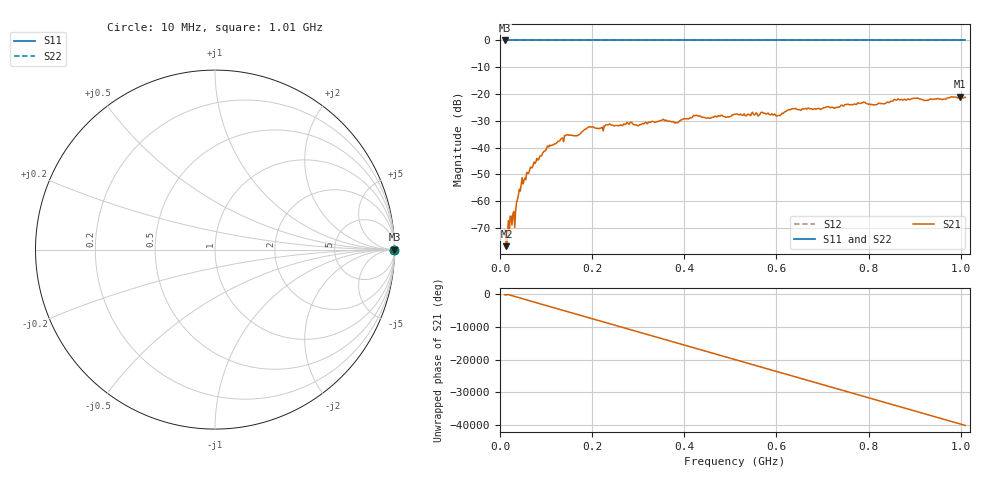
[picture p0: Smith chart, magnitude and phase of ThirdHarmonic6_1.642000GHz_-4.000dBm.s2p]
! 8/16/2025 7:38:29 PM
! C:\ANRITSUVNA\TEMP\TEMP.S2P
! CHANNEL.1
! TR.MEASUREMENT
! RAW.DATA
! RF.CORRECTION.OFF
! AVERAGING.OFF
! IF.BANDWIDTH: 5KHZ
! SWEEPTYPE:  FREQ.SWEEP(Linear)
! Reference Plane Port Info
! PORT:  PORT1  PORT2
! DISTANCE:  0  m  0  m
! TIME:  0  s  0  s
! PHASE.OFFSET:  0  deg.  0  deg.
! LOSS:  0  dB  0  dB
! REF.LOSS:  0  dB  0  dB
! REF.FREQ:  0  Hz  0  Hz
! Power Info
! POWER:  -20  dBm  -20  dBm
! EFF.POWER:  -20  dBm  -20  dBm
! SOURCE.ATTEN:  0  dB  0  dB
! TEST.ATTEN:  0  dB  0  dB
# GHZ S RI R 50.0
! FREQ.GHZ  S11RE  S11IM  S21RE  S21IM  S12RE  S12IM  S22RE  S22IM
!; PortSelection: Port_12
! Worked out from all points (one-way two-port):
!   501 points, 10 MHz to 1.01 GHz, reference 50 ohm
!   highest |S21| = -21.01 dB at 998 MHz (marker M1); lowest = -76.8 dB at 14 MHz (marker M2)
!   lowest |S11| = 0.0 dB at 10 MHz (marker M3)
!   |S11| at or under -10 dB: nowhere
!   |S22| runs from 0.0 to 0.0 dB; largest |S21 - S12| = 1.1
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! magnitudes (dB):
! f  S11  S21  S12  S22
! 10 MHz  0.0  -70.7  0.0  0.0
! 14 MHz  0.0  -76.8  0.0  0.0
! 16 MHz  0.0  -74.6  0.0  0.0
! 26 MHz  0.0  -68.9  0.0  0.0
! 30 MHz  0.0  -63.9  0.0  0.0
! 44 MHz  0.0  -56.3  0.0  0.0
! 70 MHz  0.0  -47.5  0.0  0.0
! 106 MHz  0.0  -39.8  0.0  0.0
! 144 MHz  0.0  -35.4  0.0  0.0
! 178 MHz  0.0  -34.1  0.0  0.0
! 196 MHz  0.0  -32.2  0.0  0.0
! 344 MHz  0.0  -30.3  0.0  0.0
! 382 MHz  0.0  -30.6  0.0  0.0
! 424 MHz  0.0  -28.1  0.0  0.0
! 452 MHz  0.0  -28.9  0.0  0.0
! 510 MHz  0.0  -27.5  0.0  0.0
! 604 MHz  0.0  -28.0  0.0  0.0
! 632 MHz  0.0  -25.7  0.0  0.0
! 678 MHz  0.0  -25.7  0.0  0.0
! 844 MHz  0.0  -23.2  0.0  0.0
! 998 MHz  0.0  -21.0  0.0  0.0
! 1.01 GHz  0.0  -21.3  0.0  0.0
